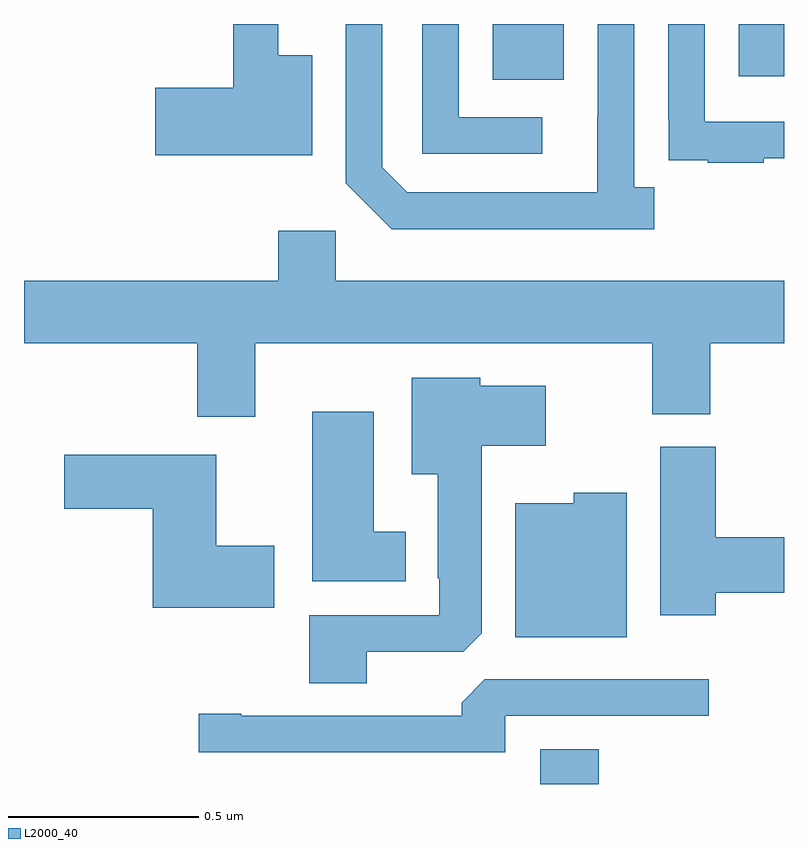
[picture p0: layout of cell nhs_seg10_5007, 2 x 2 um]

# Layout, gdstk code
import gdstk
lib = gdstk.Library(unit=1e-6, precision=1e-09)
def R(c, l, rs):  # rectangles x0, y0, x1, y1
    for r in rs: c.add(gdstk.rectangle(r[:2], r[2:], *l))
def P(c, l, *ps):  # polygons
    for p in ps: c.add(gdstk.Polygon(p, *l))
L2000_40 = (2000, 40)

nhs_seg10_5007 = lib.new_cell('nhs_seg10_5007')
R(nhs_seg10_5007, L2000_40, [(174.359,1288.5,174.512,1288.591), (174.233,1290.353,174.421,1290.5), (174.881,1290.363,175,1290.5)])
P(nhs_seg10_5007, L2000_40, [(174.364,1290.255),(174.144,1290.255),(174.144,1290.5),(174.048,1290.5),(174.048,1290.159),(174.364,1290.159)],
  [(173.758,1290.418),(173.669,1290.418),(173.669,1290.5),(173.551,1290.5),(173.551,1290.332),(173.346,1290.332),(173.346,1290.154),(173.758,1290.154)],
  [(174.947,1290.147),(175,1290.147),(175,1290.243),(174.792,1290.243),(174.792,1290.5),(174.696,1290.5),(174.696,1290.25),(174.697,1290.25),(174.697,1290.141),(174.799,1290.141),(174.799,1290.135),(174.947,1290.135)],
  [(174.658,1290.07),(174.606,1290.07),(174.606,1290.5),(174.51,1290.5),(174.51,1290.257),(174.509,1290.257),(174.509,1290.057),(174.009,1290.057),(173.943,1290.123),(173.943,1290.5),(173.847,1290.5),(173.847,1290.081),(173.968,1289.96),(174.658,1289.96)],
  [(173.608,1289.66),(174.653,1289.66),(174.653,1289.473),(174.806,1289.473),(174.806,1289.66),(175,1289.66),(175,1289.824),(173.82,1289.824),(173.82,1289.956),(173.669,1289.956),(173.669,1289.824),(173,1289.824),(173,1289.66),(173.456,1289.66),(173.456,1289.466),(173.608,1289.466)],
  [(173.902,1288.848),(174.156,1288.848),(174.205,1288.897),(174.205,1289.39),(174.373,1289.39),(174.373,1289.548),(174.201,1289.548),(174.201,1289.569),(174.02,1289.569),(174.02,1289.315),(174.089,1289.315),(174.089,1289.041),(174.093,1289.041),(174.093,1288.944),(173.75,1288.944),(173.75,1288.765),(173.902,1288.765)],
  [(174.004,1289.164),(173.92,1289.164),(173.92,1289.479),(173.759,1289.479),(173.759,1289.033),(174.004,1289.033)],
  [(174.821,1289.003),(175,1289.003),(175,1289.15),(174.821,1289.15),(174.821,1289.388),(174.674,1289.388),(174.674,1288.944),(174.821,1288.944)],
  [(173.659,1289.127),(173.506,1289.127),(173.506,1289.367),(173.106,1289.367),(173.106,1289.225),(173.339,1289.225),(173.339,1288.964),(173.659,1288.964)],
  [(174.586,1289.266),(174.447,1289.266),(174.447,1289.239),(174.293,1289.239),(174.293,1288.886),(174.586,1288.886)],
  [(174.267,1288.68),(174.802,1288.68),(174.802,1288.776),(174.213,1288.776),(174.152,1288.714),(174.152,1288.68),(173.572,1288.68),(173.572,1288.685),(173.46,1288.685),(173.46,1288.584),(174.267,1288.584)])

lib.write_gds('nhs_seg10_5007.gds')
